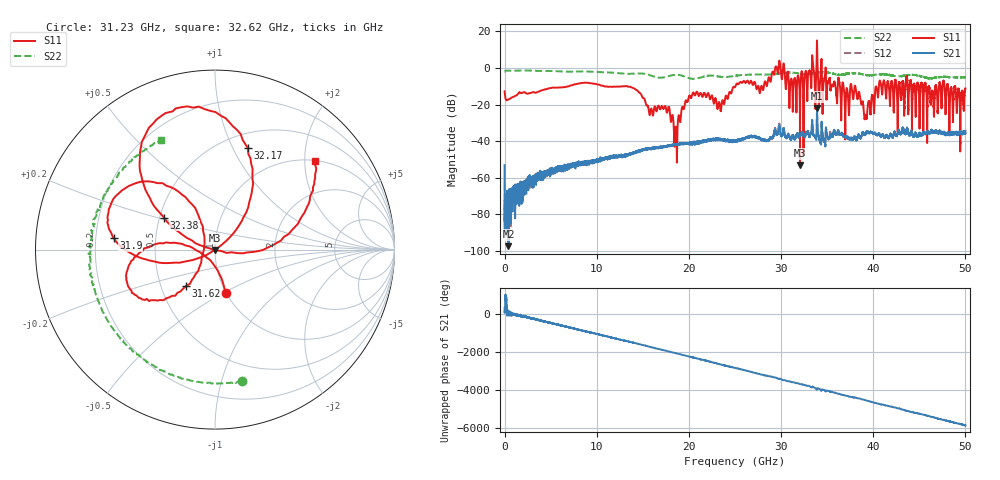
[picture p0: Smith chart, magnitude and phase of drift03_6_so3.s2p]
!Created with skrf (http://scikit-rf.org).
# Hz S RI R 50.0
!freq ReS11 ImS11 ReS21 ImS21 ReS12 ImS12 ReS22 ImS22
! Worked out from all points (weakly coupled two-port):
!   10001 points, 300 kHz to 50 GHz, reference 50 ohm
!   highest |S21| = -22.07 dB at 33.9 GHz (marker M1); lowest = -97.4 dB at 415.3 MHz (marker M2)
!   lowest |S11| = -53.1 dB at 32.05 GHz (marker M3), VSWR 1.00, Z = 49.9 - j0.181 ohm
!   |S11| at or under -10 dB: start of sweep to 6.957 GHz; 13.33 GHz to 25.05 GHz (11.72 GHz wide, 61.1 % of centre); 38.05 GHz to 40.61 GHz (2.557 GHz wide, 6.5 % of centre) (the widest 3 of 59)
!   |S22| runs from -5.9 to -1.3 dB; largest |S21 - S12| = 0.0078
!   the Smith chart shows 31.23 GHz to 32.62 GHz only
!   S11 on the Smith chart (normalised r, x): 31.23 GHz: 0.99, -0.51; 31.62 GHz: 0.67, -0.29; 31.9 GHz: 0.28, +0.05; 32.17 GHz: 0.66, +1.15; 32.38 GHz: 0.53, +0.21; 32.62 GHz: 1.02, +2.24
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300000  -0.2099 -0.0951  -0.00142 0.00171  0.000584 0.000391  -0.7663 -0.1815
4.152975e8  -0.091 0.105  -1.28e-05 4.02e-06  -5.57e-05 0.00028  -0.5629 0.6316
1.540291e9  0.2058 0.0413  8.01e-05 -0.000212  -0.000183 -0.000525  0.8496 0.0678
3.160281e9  -0.2185 -0.00821  0.000283 0.000965  6.07e-05 0.000599  -0.8444 -0.0242
4.665272e9  0.2633 0.0607  -4.71e-05 -0.00121  5.96e-05 -0.00124  0.8186 0.1412
8.33525e9  0.2836 -0.2679  -0.00239 -0.00093  -0.00225 -0.000895  0.5998 -0.5357
9.585242e9  -0.3707 -0.0403  0.00143 0.00254  0.00151 0.00226  -0.7866 -0.0765
1.123023e10  0.3044 0.0322  -0.00197 -0.00271  -0.0025 -0.00247  0.7559 0.0409
1.66702e10  0.0545 0.0754  0.0046 -0.00489  0.00464 -0.0048  -0.3528 0.4209
2.500015e10  -0.2966 -0.0462  0.00775 0.00623  0.00808 0.00629  -0.1886 -0.5821
2.964512e10  0.2858 0.6474  -0.0153 -0.00697  -0.0152 -0.00616  0.0373 0.6952
3.122511e10  0.0586 -0.2431  0.0136 0.00247  0.0138 0.00244  0.1497 -0.7341
3.161511e10  -0.1614 -0.2026  0.0108 -0.00796  0.0113 -0.00785  -0.3741 -0.6273
3.189511e10  -0.5649 0.0661  0.00785 -0.0108  0.00772 -0.00999  -0.6337 -0.3251
3.205011e10  -0.00125 -0.00182  0.00168 -0.0144  0.00157 -0.0147  -0.6967 -0.1058
3.216511e10  0.1835 0.5652  -0.00145 -0.0154  -0.00158 -0.0154  -0.688 0.0631
3.237511e10  -0.2834 0.1784  -0.00626 -0.0135  -0.00629 -0.0133  -0.5764 0.3652
3.26201e10  0.5569 0.492  -0.0118 -0.00709  -0.0117 -0.00714  -0.3011 0.6087
3.33351e10  0.4057 -0.9943  -0.00401 0.0251  -0.00483 0.024  0.6143 0.3631
3.39001e10  1.417 -5.234  0.0698 0.0365  0.0659 0.0297  0.6733 -0.3291
4.167005e10  -0.2009 0.2838  -0.0115 -0.00453  -0.0116 -0.00491  -0.6493 -0.0471
5e10  -0.1623 -0.2238  -8.18e-05 -0.0188  0.00126 -0.0172  0.46 -0.3225
